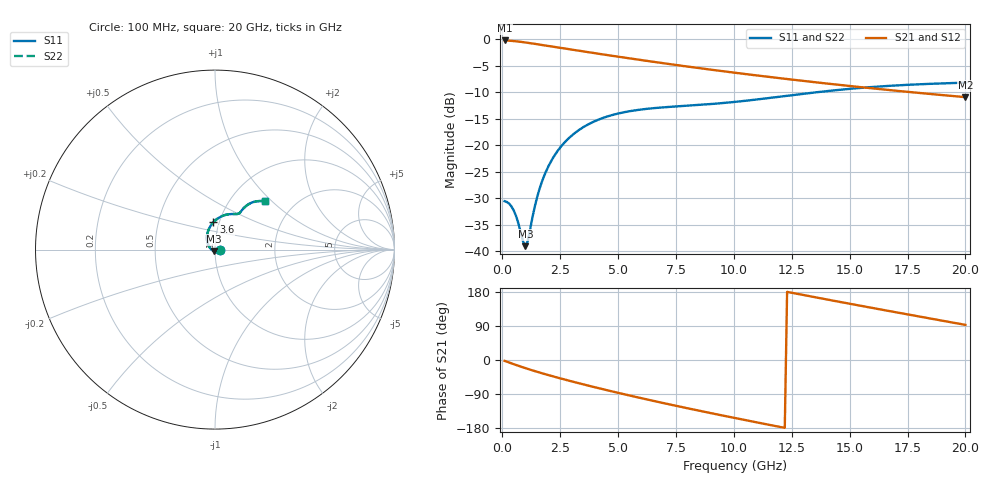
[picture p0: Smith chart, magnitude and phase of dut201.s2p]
! Touchstone file exported from HFSS 2023.1.0
!  File:  D:/Users/fzz/RDL_TSV/temp_RDL_TSV_201_1778756307.aedt
!  Generated:  7:07:58 %x4E0B%x5348  5%x6708 14, 2026
!  Design:  RDL_TSV
!  Project:  temp_RDL_TSV_201_1778756307
!  Setup:  Setup1
!  Solution:  Sweep
! Variables:
!  dtsv = 17.69um
!  hbump = 3um
!  htsv = 73.61um
!  ldown = 238.51um
!  lrdl = 656.71um
!  p = 40
!  p1 = 41um
!  rhole = 10um
!  subl = 3342.37um
!  t = 450um
!  tdown = 3.83um
!  trdl = 2.51um
!  viad = 10um
!  wdown = 24.81um
!  wrdl = 13.29um
!  xbump = 18um
# GHz S MA R 50.000000
! Terminal data exported
! Port[1] = TM1_1_T1
! Port[2] = TM1_4_T1
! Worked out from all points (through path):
!   200 points, 100 MHz to 20 GHz, reference 50 ohm
!   highest |S21| = -0.27 dB at 100 MHz (marker M1); lowest = -11.0 dB at 20 GHz (marker M2)
!   group delay of S21, straight-line fit = 35.6 ps
!   lowest |S11| = -39.1 dB at 1 GHz (marker M3), VSWR 1.02, Z = 49.5 - j1 ohm
!   |S11| at or under -10 dB: start of sweep to 13.65 GHz
!   |S22| runs from -39.1 to -8.2 dB; largest |S21 - S12| = 1.5e-14
!   S11 on the Smith chart (normalised r, x): 100 MHz: 1.06, -0.01; 3.6 GHz: 0.94, +0.29; 20 GHz: 1.43, +0.91
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0.1  0.02953 -4.7  0.9696 -2.3  0.9696 -2.3  0.02953 -4.7
! Gamma 0 0 0 0
! Port Impedance 50 0 50 0
0.3  0.02795 -15.7  0.9648 -6.8  0.9648 -6.8  0.02795 -15.7
0.5  0.024 -29.7  0.9569 -11.1  0.9569 -11.1  0.024 -29.7
0.7  0.0181 -49.4  0.9467 -15.4  0.9467 -15.4  0.0181 -49.4
0.9  0.01226 -85.2  0.9347 -19.5  0.9347 -19.5  0.01227 -85.3
1  0.01112 -114.3  0.9283 -21.5  0.9283 -21.5  0.01113 -114.4
1.1  0.01243 -144.7  0.9215 -23.5  0.9215 -23.5  0.01245 -144.7
1.4  0.0261 166.2  0.9005 -29.2  0.9005 -29.2  0.02614 166.3
1.6  0.03809 151.5  0.8862 -32.9  0.8862 -32.9  0.03814 151.5
2  0.0635 132.9  0.858 -40.0  0.858 -40.0  0.06359 132.9
2.6  0.1006 114.5  0.8179 -50.0  0.8179 -50.0  0.1007 114.6
3.5  0.1475 95.4  0.7629 -64.3  0.7629 -64.3  0.1478 95.4
3.6  0.152 93.6  0.7571 -65.9  0.7571 -65.9  0.1522 93.7
5  0.1982 74.8  0.6815 -86.6  0.6815 -86.6  0.1986 74.8
6.8  0.2254 61.5  0.5978 -111.6  0.5978 -111.6  0.226 61.5
8.4  0.2382 56.9  0.5352 -132.5  0.5352 -132.5  0.2389 56.9
10.1  0.2559 55.8  0.4793 -153.8  0.4793 -153.8  0.2566 55.7
11.7  0.2809 55.4  0.4345 -173.1  0.4345 -173.1  0.2815 55.2
13.4  0.3117 53.8  0.3937 166.9  0.3937 166.9  0.3121 53.6
15  0.3388 51.3  0.3606 148.5  0.3606 148.5  0.339 51.2
16.7  0.3616 48.4  0.3303 129.3  0.3303 129.3  0.3616 48.2
20  0.3877 44.1  0.283 92.7  0.283 92.7  0.3874 44.0
